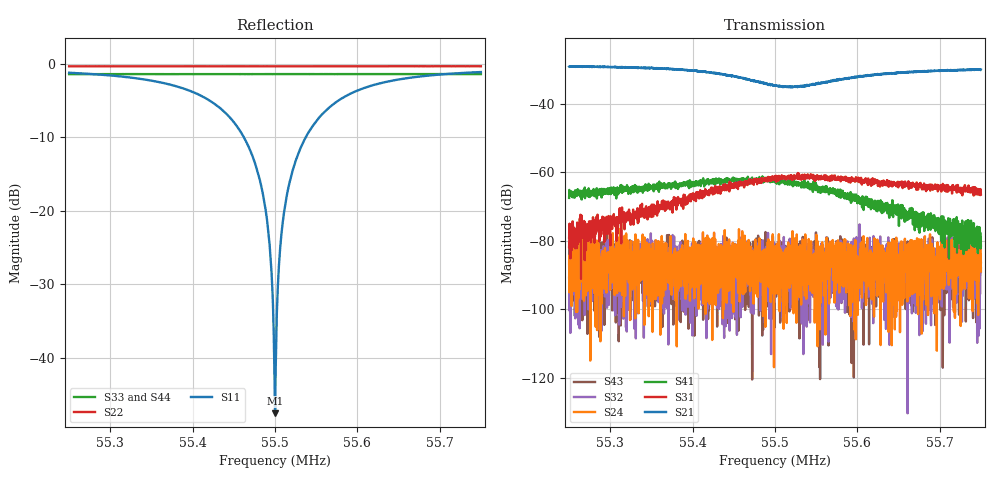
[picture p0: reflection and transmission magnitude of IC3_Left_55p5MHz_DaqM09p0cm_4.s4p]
#  HZ  S  DB  R  50.00
! Rohde & Schwarz Vector Network Analyzer
! Rohde-Schwarz,ZNB8-4Port,1311601044102961,2.82
! Created: UTC 2/13/2019, 9:50:06 AM
! freq[Hz]  db:S11  ang:S11  db:S12  ang:S12  db:S13  ang:S13  db:S14  ang:S14
!  db:S21  ang:S21  db:S22  ang:S22  db:S23  ang:S23  db:S24  ang:S24
!  db:S31  ang:S31  db:S32  ang:S32  db:S33  ang:S33  db:S34  ang:S34
!  db:S41  ang:S41  db:S42  ang:S42  db:S43  ang:S43  db:S44  ang:S44
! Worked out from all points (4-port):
!   2001 points, 55.25 MHz to 55.75 MHz, reference 50 ohm
!   strongest paths, dB at 55.25 MHz, 55.375 MHz, 55.5 MHz, 55.625 MHz, 55.75 MHz:
!     S21: -29.2, -29.9, -34.7, -31.6, -30.1
!     S31: -79.1, -69.4, -62.0, -64.1, -66.5
!     S41: -67.5, -64.0, -62.9, -68.4, -81.5
!     S24: -86.0, -86.6, -81.6, -94.7, -89.0
!     S32: -90.9, -87.8, -90.6, -84.2, -88.1
!     S43: -81.8, -97.4, -87.0, -82.3, -86.4
!   lowest |S11| = -47.6 dB at 55.5 MHz (marker M1), VSWR 1.01, Z = 49.7 - j0.33 ohm
!   |S11| at or under -10 dB: 55.46224 MHz to 55.53724 MHz (75 kHz wide, 0.135 % of centre)
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5.525e7  -1.19 -129.7  -29.17 72.1  -77.28 -1.9  -66.94 -150.7
         -29.20 71.2  -0.32 94.2  -93.99 137.1  -86.04 123.2
         -79.10 21.4  -90.86 97.0  -1.39 34.9  -85.07 145.9
         -67.54 -151.8  -84.09 -172.1  -81.83 -170.8  -1.38 28.4
5.5453e7  -8.37 176.4  -32.26 51.1  -64.77 -14.6  -61.92 164.8
          -32.21 50.9  -0.32 90.5  -86.27 -20.4  -87.51 57.5
          -63.44 -28.8  -99.00 -109.4  -1.38 32.5  -91.60 -144.6
          -62.18 160.2  -92.67 150.6  -85.11 -9.9  -1.37 26.0
5.548675e7  -18.57 159.4  -33.99 54.7  -62.30 -47.4  -61.78 147.3
            -33.92 55.4  -0.32 89.9  -84.85 -106.9  -87.04 -61.2
            -62.30 -43.6  -84.77 12.7  -1.38 32.1  -83.63 155.2
            -62.84 147.0  -82.60 42.9  -91.12 35.4  -1.38 25.6
5.55e7  -47.59 -127.4  -34.74 59.3  -62.24 -50.4  -62.55 140.3
        -34.68 60.1  -0.32 89.6  -95.19 -78.4  -81.63 16.3
        -61.99 -52.2  -90.61 -100.7  -1.38 31.9  -102.19 21.4
        -62.92 144.2  -88.09 -140.2  -87.03 -25.9  -1.38 25.4
5.55135e7  -18.43 -40.3  -34.96 66.4  -61.12 -55.6  -62.61 134.6
           -35.12 65.4  -0.32 89.4  -88.33 52.3  -82.33 -89.4
           -61.81 -57.8  -85.49 93.3  -1.38 31.8  -88.44 17.9
           -63.41 132.0  -89.94 177.5  -85.70 -169.3  -1.37 25.2
5.5548e7  -8.10 -58.5  -34.30 80.5  -61.74 -79.6  -64.31 111.8
          -34.44 80.6  -0.32 88.8  -82.69 79.8  -87.13 -165.6
          -61.72 -82.3  -96.36 112.9  -1.38 31.3  -83.23 -20.2
          -63.63 116.4  -84.56 166.5  -89.20 -52.2  -1.37 24.8
5.575e7  -1.10 -113.9  -29.97 75.3  -64.87 -123.5  -78.26 94.6
         -30.07 74.5  -0.32 85.1  -86.20 170.5  -89.00 68.8
         -66.49 -118.6  -88.11 -142.5  -1.37 28.9  -90.19 114.0
         -81.48 39.8  -89.78 -168.8  -86.35 -29.4  -1.37 22.3
